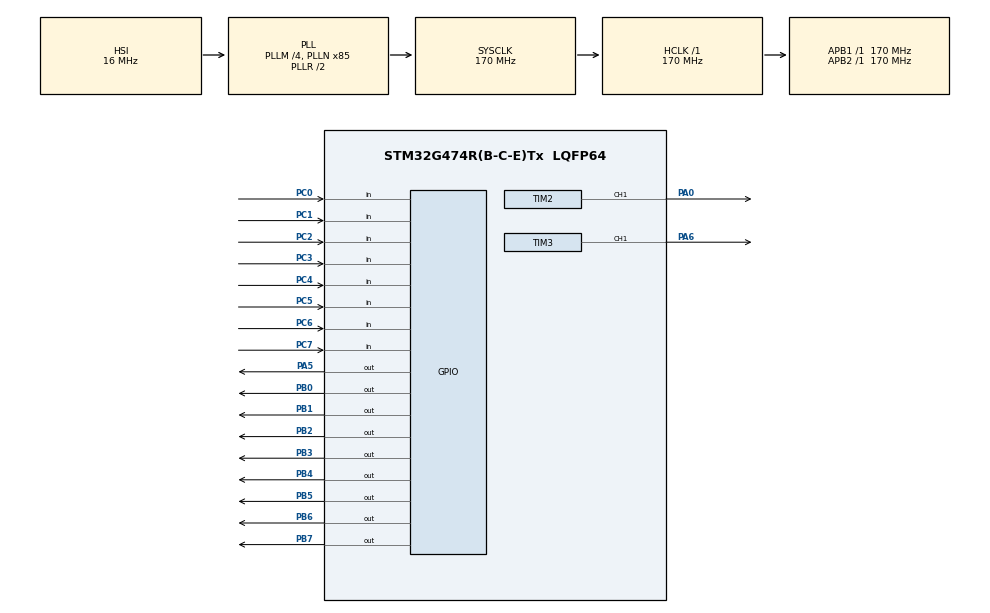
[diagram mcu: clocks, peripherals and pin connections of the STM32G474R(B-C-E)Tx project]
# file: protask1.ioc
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Dma.Request0=TIM2_CH2
Dma.Request1=TIM3_UP
Dma.TIM2_CH2.0.Direction=DMA_PERIPH_TO_MEMORY
Dma.TIM2_CH2.0.EventEnable=DISABLE
Dma.TIM2_CH2.0.Instance=DMA1_Channel1
Dma.TIM2_CH2.0.MemDataAlignment=DMA_MDATAALIGN_BYTE
Dma.TIM2_CH2.0.MemInc=DMA_MINC_ENABLE
Dma.TIM2_CH2.0.Mode=DMA_CIRCULAR
Dma.TIM2_CH2.0.PeriphDataAlignment=DMA_PDATAALIGN_BYTE
Dma.TIM2_CH2.0.PeriphInc=DMA_PINC_DISABLE
Dma.TIM2_CH2.0.Polarity=HAL_DMAMUX_REQ_GEN_RISING
Dma.TIM2_CH2.0.Priority=DMA_PRIORITY_VERY_HIGH
Dma.TIM2_CH2.0.RequestNumber=1
Dma.TIM2_CH2.0.SignalID=NONE
Dma.TIM2_CH2.0.SyncEnable=DISABLE
Dma.TIM2_CH2.0.SyncPolarity=HAL_DMAMUX_SYNC_NO_EVENT
Dma.TIM2_CH2.0.SyncRequestNumber=1
Dma.TIM2_CH2.0.SyncSignalID=NONE
Dma.TIM3_UP.1.Direction=DMA_MEMORY_TO_PERIPH
Dma.TIM3_UP.1.EventEnable=DISABLE
Dma.TIM3_UP.1.Instance=DMA1_Channel2
Dma.TIM3_UP.1.MemDataAlignment=DMA_MDATAALIGN_BYTE
Dma.TIM3_UP.1.MemInc=DMA_MINC_ENABLE
Dma.TIM3_UP.1.Mode=DMA_CIRCULAR
Dma.TIM3_UP.1.PeriphDataAlignment=DMA_PDATAALIGN_BYTE
Dma.TIM3_UP.1.PeriphInc=DMA_PINC_DISABLE
Dma.TIM3_UP.1.Polarity=HAL_DMAMUX_REQ_GEN_RISING
Dma.TIM3_UP.1.Priority=DMA_PRIORITY_HIGH
Dma.TIM3_UP.1.RequestNumber=1
Dma.TIM3_UP.1.SignalID=NONE
Dma.TIM3_UP.1.SyncEnable=DISABLE
Dma.TIM3_UP.1.SyncPolarity=HAL_DMAMUX_SYNC_NO_EVENT
Dma.TIM3_UP.1.SyncRequestNumber=1
Dma.TIM3_UP.1.SyncSignalID=NONE
Mcu.Family=STM32G4
Mcu.Name=STM32G474R(B-C-E)Tx
Mcu.Package=LQFP64
NVIC.DMA1_Channel1_IRQn=true\:0\:0\:false\:false\:true\:false\:true\:true
NVIC.PriorityGroup=NVIC_PRIORITYGROUP_4
PA0.GPIO_Speed=GPIO_SPEED_FREQ_VERY_HIGH
PA0.Signal=S_TIM2_CH1
PA5.Signal=GPIO_Output
PA6.GPIO_Speed=GPIO_SPEED_FREQ_VERY_HIGH
PA6.Signal=S_TIM3_CH1
PB0.GPIO_Speed=GPIO_SPEED_FREQ_VERY_HIGH
PB0.Signal=GPIO_Output
PB1.GPIO_Speed=GPIO_SPEED_FREQ_VERY_HIGH
PB1.Signal=GPIO_Output
PB2.GPIO_Speed=GPIO_SPEED_FREQ_VERY_HIGH
PB2.Signal=GPIO_Output
PB3.GPIO_Speed=GPIO_SPEED_FREQ_VERY_HIGH
PB3.Signal=GPIO_Output
PB4.GPIO_Speed=GPIO_SPEED_FREQ_VERY_HIGH
PB4.Signal=GPIO_Output
PB5.GPIO_Speed=GPIO_SPEED_FREQ_VERY_HIGH
PB5.Signal=GPIO_Output
PB6.GPIO_Speed=GPIO_SPEED_FREQ_VERY_HIGH
PB6.Signal=GPIO_Output
PB7.GPIO_Speed=GPIO_SPEED_FREQ_VERY_HIGH
PB7.Signal=GPIO_Output
PC0.Signal=GPIO_Input
PC1.Signal=GPIO_Input
PC2.Signal=GPIO_Input
PC3.Signal=GPIO_Input
PC4.Signal=GPIO_Input
PC5.Signal=GPIO_Input
PC6.Signal=GPIO_Input
PC7.Signal=GPIO_Input
ProjectManager.HeapSize=0x200
ProjectManager.StackSize=0x400
ProjectManager.TargetToolchain=STM32CubeIDE
RCC.ADC12Freq_Value=170000000
RCC.ADC345Freq_Value=170000000
RCC.AHBFreq_Value=170000000
RCC.APB1Freq_Value=170000000
RCC.APB1TimFreq_Value=170000000
RCC.APB2Freq_Value=170000000
RCC.APB2TimFreq_Value=170000000
RCC.CortexFreq_Value=170000000
RCC.EXTERNAL_CLOCK_VALUE=12288000
RCC.HCLKFreq_Value=170000000
RCC.HSE_VALUE=8000000
RCC.HSI48_VALUE=48000000
RCC.HSI_VALUE=16000000
RCC.LSE_VALUE=32768
RCC.PLLM=RCC_PLLM_DIV4
RCC.PLLN=85
RCC.SYSCLKFreq_VALUE=170000000
RCC.SYSCLKSource=RCC_SYSCLKSOURCE_PLLCLK
RCC.USBFreq_Value=170000000
RCC.VCOOutputFreq_Value=340000000
SH.S_TIM2_CH1.0=TIM2_CH1,PWM Generation1 CH1
SH.S_TIM3_CH1.0=TIM3_CH1,PWM Generation1 CH1
TIM2.Channel-Output\ Compare2\ No\ Output=TIM_CHANNEL_2
TIM2.Channel-PWM\ Generation1\ CH1=TIM_CHANNEL_1
TIM2.PeriodNoDither=33
TIM2.PulseNoDither_1=17
TIM2.PulseNoDither_2=12
TIM3.Channel-PWM\ Generation1\ CH1=TIM_CHANNEL_1
TIM3.OCMode_PWM-PWM\ Generation1\ CH1=TIM_OCMODE_PWM2
TIM3.PeriodNoDither=101
TIM3.PulseNoDither_1=51
TIM3.TIM_MasterOutputTrigger=TIM_TRGO_UPDATE
VP_SYS_VS_DBSignals.Mode=DisableDeadBatterySignals
VP_TIM2_VS_ClockSourceINT.Mode=Internal
VP_TIM2_VS_no_output2.Mode=Output Compare2 No Output
VP_TIM3_VS_ClockSourceINT.Mode=Internal
board=custom

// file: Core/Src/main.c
/* USER CODE BEGIN Header */
/* USER CODE END Header */
#include "main.h"
#include "dma.h"
#include "tim.h"
#include "gpio.h"

/* USER CODE BEGIN PD */
#define ADC_BUF_SIZE 3072
#define DAC_BUF_SIZE 1024

#define HEARTBEAT_FRAMES_OK    1628
#define HEARTBEAT_FRAMES_FAIL  163
/* USER CODE END PD */

/* USER CODE BEGIN PV */
uint8_t adc_buf[ADC_BUF_SIZE];
uint8_t dac_buf[DAC_BUF_SIZE];

volatile uint8_t process_half_a = 0;
volatile uint8_t process_half_b = 0;
volatile uint32_t overrun_cnt = 0;
volatile uint32_t dma_err_cnt = 0;
volatile uint32_t frame_cnt = 0;
static uint8_t output_started = 0;
static uint32_t blink_div = 0;
/* USER CODE END PV */

void SystemClock_Config(void);
/* USER CODE BEGIN PFP */
static void ProcessSamples(uint32_t in_start, uint32_t out_start, uint32_t count);
static void DmaHalfCpltCallback(DMA_HandleTypeDef *hdma);
static void DmaCpltCallback(DMA_HandleTypeDef *hdma);
static void DmaErrorCallback(DMA_HandleTypeDef *hdma);
static void StartOutputStage(void);
static void Heartbeat(void);
static void StartupBlink(void);
/* USER CODE END PFP */

/* USER CODE BEGIN 0 */
static void ProcessSamples(uint32_t in_start, uint32_t out_start, uint32_t count) {
    for (uint32_t i = 0; i < count; i++) {
        uint32_t idx = in_start + (i * 3);

        int32_t v = (int32_t)adc_buf[idx] + adc_buf[idx + 2] - 2 * (int32_t)adc_buf[idx + 1];

        dac_buf[out_start + i] = (uint8_t)__USAT((v >> 2) + 128, 8);
    }
}

static void DmaHalfCpltCallback(DMA_HandleTypeDef *hdma) {
    (void)hdma;
    if (process_half_a) overrun_cnt++;
    process_half_a = 1;
}

static void DmaCpltCallback(DMA_HandleTypeDef *hdma) {
    (void)hdma;
    if (process_half_b) overrun_cnt++;
    process_half_b = 1;
}

static void DmaErrorCallback(DMA_HandleTypeDef *hdma) {
    (void)hdma;
    dma_err_cnt++;
}

static void StartOutputStage(void) {
    HAL_DMA_Start(htim3.hdma[TIM_DMA_ID_UPDATE], (uint32_t)dac_buf, (uint32_t)&GPIOB->ODR, DAC_BUF_SIZE);
    __HAL_TIM_ENABLE_DMA(&htim3, TIM_DMA_UPDATE);
    HAL_TIM_PWM_Start(&htim3, TIM_CHANNEL_1);
}

static void StartupBlink(void) {
    for (int i = 0; i < 3; i++) {
        HAL_GPIO_WritePin(GPIOA, GPIO_PIN_5, GPIO_PIN_SET);
        HAL_Delay(60);
        HAL_GPIO_WritePin(GPIOA, GPIO_PIN_5, GPIO_PIN_RESET);
        HAL_Delay(120);
    }
}

static void Heartbeat(void) {
    uint32_t period = (overrun_cnt || dma_err_cnt) ? HEARTBEAT_FRAMES_FAIL
                                                   : HEARTBEAT_FRAMES_OK;
    frame_cnt++;
    if (++blink_div >= period) {
        blink_div = 0;
        HAL_GPIO_TogglePin(GPIOA, GPIO_PIN_5);
    }
}
/* USER CODE END 0 */

int main(void)
{

  /* MCU Configuration--------------------------------------------------------*/

  /* Reset of all peripherals, Initializes the Flash interface and the Systick. */
  HAL_Init();

  /* Configure the system clock */
  SystemClock_Config();

  /* Initialize all configured peripherals */
  MX_GPIO_Init();
  MX_DMA_Init();
  MX_TIM2_Init();
  MX_TIM3_Init();
  /* USER CODE BEGIN 2 */

  StartupBlink();

  htim2.hdma[TIM_DMA_ID_CC2]->XferHalfCpltCallback = DmaHalfCpltCallback;
  htim2.hdma[TIM_DMA_ID_CC2]->XferCpltCallback = DmaCpltCallback;
  htim2.hdma[TIM_DMA_ID_CC2]->XferErrorCallback = DmaErrorCallback;

  HAL_DMA_Start_IT(htim2.hdma[TIM_DMA_ID_CC2], (uint32_t)&GPIOC->IDR, (uint32_t)adc_buf, ADC_BUF_SIZE);
  __HAL_TIM_ENABLE_DMA(&htim2, TIM_DMA_CC2);
  HAL_TIM_OC_Start(&htim2, TIM_CHANNEL_2);
  HAL_TIM_PWM_Start(&htim2, TIM_CHANNEL_1);

  /* USER CODE END 2 */

  /* Infinite loop */
  /* USER CODE BEGIN WHILE */
  while (1)
  {
      if (process_half_a) {
          ProcessSamples(0, 0, DAC_BUF_SIZE / 2);
          process_half_a = 0;
          Heartbeat();
      }
      else if (process_half_b) {
          ProcessSamples((ADC_BUF_SIZE / 2), (DAC_BUF_SIZE / 2), DAC_BUF_SIZE / 2);
          process_half_b = 0;
          Heartbeat();

          if (!output_started) {
              StartOutputStage();
              output_started = 1;
          }
      }
      else {
          __WFI();
      }
    /* USER CODE END WHILE */

  }
}

void SystemClock_Config(void)
{
  RCC_OscInitTypeDef RCC_OscInitStruct = {0};
  RCC_ClkInitTypeDef RCC_ClkInitStruct = {0};

  /** Configure the main internal regulator output voltage
  */
  HAL_PWREx_ControlVoltageScaling(PWR_REGULATOR_VOLTAGE_SCALE1_BOOST);

  /** Initializes the RCC Oscillators according to the specified parameters
  * in the RCC_OscInitTypeDef structure.
  */
  RCC_OscInitStruct.OscillatorType = RCC_OSCILLATORTYPE_HSI;
  RCC_OscInitStruct.HSIState = RCC_HSI_ON;
  RCC_OscInitStruct.HSICalibrationValue = RCC_HSICALIBRATION_DEFAULT;
  RCC_OscInitStruct.PLL.PLLState = RCC_PLL_ON;
  RCC_OscInitStruct.PLL.PLLSource = RCC_PLLSOURCE_HSI;
  RCC_OscInitStruct.PLL.PLLM = RCC_PLLM_DIV4;
  RCC_OscInitStruct.PLL.PLLN = 85;
  RCC_OscInitStruct.PLL.PLLP = RCC_PLLP_DIV2;
  RCC_OscInitStruct.PLL.PLLQ = RCC_PLLQ_DIV2;
  RCC_OscInitStruct.PLL.PLLR = RCC_PLLR_DIV2;
  if (HAL_RCC_OscConfig(&RCC_OscInitStruct) != HAL_OK)
  {
    Error_Handler();
  }

  /** Initializes the CPU, AHB and APB buses clocks
  */
  RCC_ClkInitStruct.ClockType = RCC_CLOCKTYPE_HCLK|RCC_CLOCKTYPE_SYSCLK
                              |RCC_CLOCKTYPE_PCLK1|RCC_CLOCKTYPE_PCLK2;
  RCC_ClkInitStruct.SYSCLKSource = RCC_SYSCLKSOURCE_PLLCLK;
  RCC_ClkInitStruct.AHBCLKDivider = RCC_SYSCLK_DIV1;
  RCC_ClkInitStruct.APB1CLKDivider = RCC_HCLK_DIV1;
  RCC_ClkInitStruct.APB2CLKDivider = RCC_HCLK_DIV1;

  if (HAL_RCC_ClockConfig(&RCC_ClkInitStruct, FLASH_LATENCY_4) != HAL_OK)
  {
    Error_Handler();
  }
}

void Error_Handler(void)
{
  __disable_irq();
  while (1)
  {
  }
}
